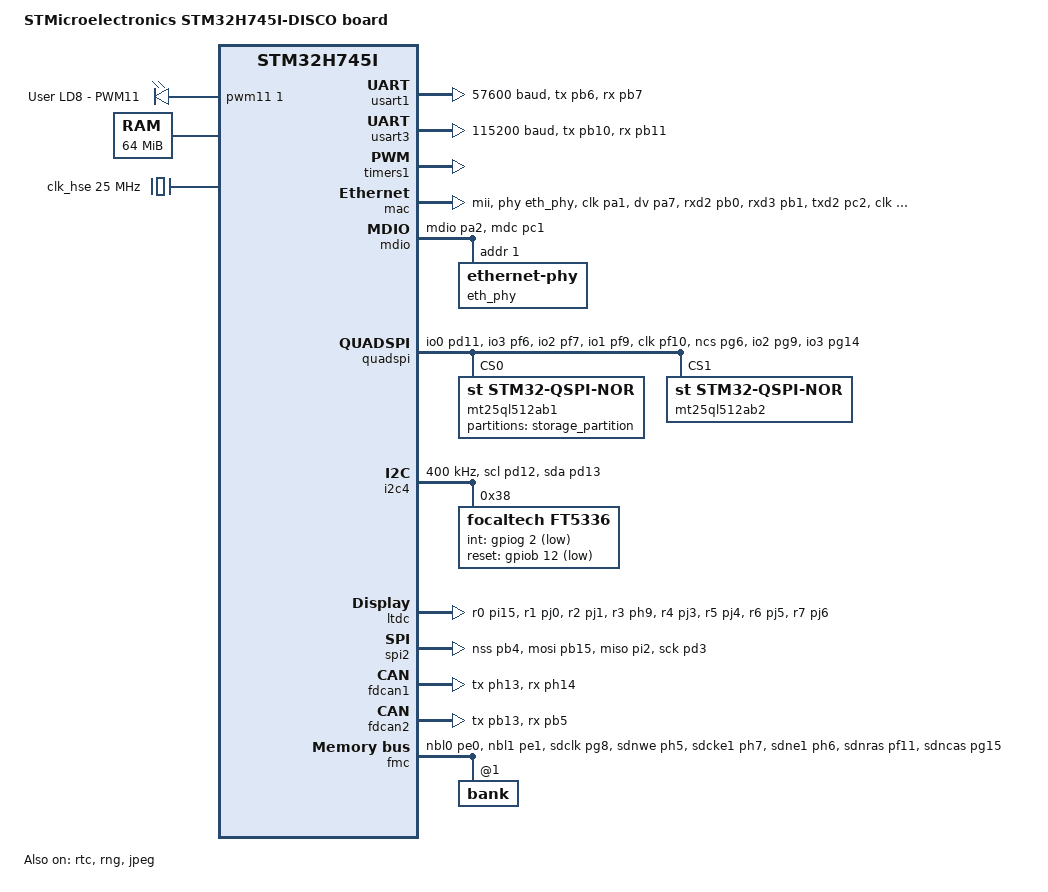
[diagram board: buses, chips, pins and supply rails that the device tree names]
/*
 * Copyright (c) 2020 Alexander Kozhinov <ak.alexander.kozhinov@gmail.com>
 * Copyright (c) 2024 Tomas Jurena <jurena@utb.cz>
 *
 * SPDX-License-Identifier: Apache-2.0
 */

/dts-v1/;
#include <st/h7/stm32h745Xi_m7.dtsi>
#include <zephyr/dt-bindings/display/panel.h>
#include "stm32h745i_disco.dtsi"

/ {
	model = "STMicroelectronics STM32H745I-DISCO board";
	compatible = "st,stm32h745i-disco";

	/* HW resources belonging to CM7 */
	chosen {
		zephyr,console = &usart3;
		zephyr,shell-uart = &usart3;
		zephyr,dtcm = &dtcm;
		zephyr,sram = &sram0;
		zephyr,flash = &flash0;
		zephyr,flash-controller = &mt25ql512ab1;
		zephyr,canbus = &fdcan1;
		zephyr,display = &ltdc;
		zephyr,touch = &ft5336;
	};

	pwmleds {
		compatible = "pwm-leds";

		green_pwm_led: green_pwm_led {
			pwms = <&pwm11 1 PWM_MSEC(20) PWM_POLARITY_NORMAL>;
			label = "User LD8 - PWM11";
		};
	};

	/* RM0455 - 23.6 External device address mapping */
	sdram2: sdram@d0000000 {
		compatible = "zephyr,memory-region", "mmio-sram";
		device_type = "memory";
		/* 128Mbit, but only half is available by HW design */
		reg = <0xd0000000 DT_SIZE_M(8)>;
		zephyr,memory-region = "SDRAM2";
		zephyr,memory-attr = <DT_MEM_ARM(ATTR_MPU_RAM)>;
	};

	ext_memory: memory@90000000 {
		compatible = "zephyr,memory-region";
		reg = <0x90000000 DT_SIZE_M(64)>; /* 512 Mbits */
		zephyr,memory-region = "EXTMEM";
		/* The ATTR_MPU_EXTMEM attribute causing a MPU FAULT */
		zephyr,memory-attr = <DT_MEM_ARM(ATTR_MPU_IO)>;
	};

	aliases {
		led0 = &green_led;
		pwm-led0 = &green_pwm_led;
		sw0 = &user_button;
		spi-flash0 = &mt25ql512ab1;
	};
};

&clk_lsi {
	status = "okay";
};

&clk_hsi48 {
	status = "okay";
};

&clk_hse {
	clock-frequency = <DT_FREQ_M(25)>; /* X1: 25MHz */
	status = "okay";
};

&pll {
	div-m = <5>;
	mul-n = <192>;
	div-p = <2>;
	div-q = <15>;
	div-r = <4>;
	clocks = <&clk_hse>;
	status = "okay";
};

&pll2 {
	div-m = <5>;
	mul-n = <192>;
	div-p = <2>;
	div-q = <12>;
	div-r = <4>;
	clocks = <&clk_hse>;
	status = "okay";
};

/* PLL3R outputs ~9.375 MHz for the LTDC pixel clock (25 MHz / 8 * 60 / 20). */
&pll3 {
	div-m = <8>;
	mul-n = <60>;
	div-p = <2>;
	div-q = <2>;
	div-r = <20>;
	clocks = <&clk_hse>;
	status = "okay";
};

&rcc {
	clocks = <&pll>;
	clock-frequency = <DT_FREQ_M(480)>;
};

&usart1 {
	pinctrl-0 = <&usart1_tx_pb6 &usart1_rx_pb7>;
	pinctrl-names = "default";
	current-speed = <57600>;
	status = "okay";
};

&usart3 {
	pinctrl-0 = <&usart3_tx_pb10 &usart3_rx_pb11>;
	pinctrl-names = "default";
	current-speed = <115200>;
	status = "okay";
};

&rtc {
	clocks = <&rcc STM32_CLOCK(APB4, 16)>,
		 <&rcc STM32_SRC_LSI RTC_SEL(2)>;
	status = "okay";
};

&timers1 {
	st,prescaler = <10000>;
	status = "okay";

	pwm11: pwm {
		status = "okay";
		pinctrl-0 = <&tim1_ch1_pa8>;
		pinctrl-names = "default";
	};
};

&mac {
	status = "okay";
	/* MII */
	pinctrl-0 = <&eth_ref_clk_pa1
		     &eth_crs_dv_pa7
		     &eth_rxd2_pb0
		     &eth_rxd3_pb1
		     &eth_txd2_pc2
		     &eth_tx_clk_pc3
		     &eth_rxd0_pc4
		     &eth_rxd1_pc5
		     &eth_txd3_pe2
		     &eth_tx_en_pg11
		     &eth_txd1_pg12
		     &eth_txd0_pg13
		     &eth_rx_er_pi10>;
	pinctrl-names = "default";
	phy-connection-type = "mii";
	phy-handle = <&eth_phy>;
};

&mdio {
	status = "okay";
	pinctrl-0 = <&eth_mdio_pa2 &eth_mdc_pc1>;
	pinctrl-names = "default";

	eth_phy: ethernet-phy@1 {
		compatible = "ethernet-phy";
		reg = <0x01>;
	};
};

&rng {
	status = "okay";
};

&quadspi {
	pinctrl-names = "default";
	pinctrl-0 = <&quadspi_bk1_io0_pd11
		     &quadspi_bk1_io3_pf6
		     &quadspi_bk1_io2_pf7
		     &quadspi_bk1_io1_pf9
		     &quadspi_clk_pf10
		     &quadspi_bk1_ncs_pg6
		     &quadspi_bk2_io2_pg9
		     &quadspi_bk2_io3_pg14
		     &quadspi_bk2_io0_ph2
		     &quadspi_bk2_io1_ph3>;
	dual-flash;
	ssht-enable;
	status = "okay";

	mt25ql512ab1: qspi-nor-flash@0 {
		compatible = "st,stm32-qspi-nor";
		reg = <0>;
		size = <DT_SIZE_M(512)>; /* 512 Mbits */
		qspi-max-frequency = <72000000>;
		cs-high-time = <4>; /* >= 50 ns */
		spi-bus-width = <4>;
		reset-cmd;
		status = "okay";

		partitions {
			compatible = "fixed-partitions";
			#address-cells = <1>;
			#size-cells = <1>;

			storage_partition: partition@0 {
				reg = <0x0 DT_SIZE_M(64)>;
			};
		};
	};

	mt25ql512ab2: qspi-nor-flash@1 {
		compatible = "st,stm32-qspi-nor";
		reg = <1>;
		size = <DT_SIZE_M(512)>; /* 512 Mbits */
		qspi-max-frequency = <72000000>;
		status = "okay";
	};
};

&i2c4 {
	status = "okay";
	pinctrl-0 = <&i2c4_scl_pd12 &i2c4_sda_pd13>;
	pinctrl-names = "default";
	scl-gpios = <&gpiod 12 GPIO_ACTIVE_HIGH>;
	sda-gpios = <&gpiod 13 GPIO_ACTIVE_HIGH>;
	clock-frequency = <I2C_BITRATE_FAST>;

	/* FT5336 capacitive touch on the on-board LCD module.
	 * INT (PG2) is open-drain, so a pull-up is required.
	 * RESET (PB12) is the LCD_RST net, shared with the panel.
	 */
	ft5336: ft5336@38 {
		compatible = "focaltech,ft5336";
		reg = <0x38>;
		int-gpios = <&gpiog 2 (GPIO_ACTIVE_LOW | GPIO_PULL_UP)>;
		reset-gpios = <&gpiob 12 GPIO_ACTIVE_LOW>;
	};
};

&ltdc {
	status = "okay";
	pinctrl-0 = <&ltdc_r0_pi15 &ltdc_r1_pj0 &ltdc_r2_pj1 &ltdc_r3_ph9
		     &ltdc_r4_pj3 &ltdc_r5_pj4 &ltdc_r6_pj5 &ltdc_r7_pj6
		     &ltdc_g0_pj7 &ltdc_g1_pj8 &ltdc_g2_pj9 &ltdc_g3_pj10
		     &ltdc_g4_pj11 &ltdc_g5_pi0 &ltdc_g6_pi1 &ltdc_g7_pk2
		     &ltdc_b0_pj12 &ltdc_b1_pj13 &ltdc_b2_pj14 &ltdc_b3_pj15
		     &ltdc_b4_pk3 &ltdc_b5_pk4 &ltdc_b6_pk5 &ltdc_b7_pk6
		     &ltdc_de_pk7 &ltdc_clk_pi14 &ltdc_hsync_pi12 &ltdc_vsync_pi9>;
	pinctrl-names = "default";
	disp-on-gpios = <&gpiod 7 GPIO_ACTIVE_HIGH>;
	clocks = <&rcc STM32_CLOCK(APB3, 3)>,
		 <&rcc STM32_SRC_PLL3_R NO_SEL>;
	ext-sdram = <&sdram2>;

	width = <480>;
	height = <272>;
	pixel-format = <PANEL_PIXEL_FORMAT_RGB_888>;

	display-timings {
		compatible = "zephyr,panel-timing";
		de-active = <0>;
		pixelclk-active = <0>;
		hsync-active = <0>;
		vsync-active = <0>;
		hsync-len = <1>;
		vsync-len = <10>;
		hback-porch = <43>;
		vback-porch = <12>;
		hfront-porch = <8>;
		vfront-porch = <4>;
	};

	def-back-color-red = <0>;
	def-back-color-green = <0>;
	def-back-color-blue = <0>;
};

&spi2 {
	status = "okay";
	pinctrl-0 = <&spi2_nss_pb4 &spi2_mosi_pb15 &spi2_miso_pi2 &spi2_sck_pd3>;
	pinctrl-names = "default";
};

&fdcan1 {
	status = "okay";
	pinctrl-0 = <&fdcan1_tx_ph13 &fdcan1_rx_ph14>;
	pinctrl-names = "default";
	clocks = <&rcc STM32_CLOCK(APB1_2, 8)>,
		 <&rcc STM32_SRC_PLL2_Q FDCAN_SEL(2)>;

	can-transceiver {
		max-bitrate = <5000000>;
	};
};

&fdcan2 {
	status = "okay";
	pinctrl-0 = <&fdcan2_tx_pb13 &fdcan2_rx_pb5>;
	pinctrl-names = "default";
	clocks = <&rcc STM32_CLOCK(APB1_2, 8)>,
		 <&rcc STM32_SRC_PLL2_Q FDCAN_SEL(2)>;

	can-transceiver {
		max-bitrate = <5000000>;
	};
};

&fmc {
	pinctrl-0 = <&fmc_nbl0_pe0 &fmc_nbl1_pe1
		     &fmc_sdclk_pg8 &fmc_sdnwe_ph5 &fmc_sdcke1_ph7
		     &fmc_sdne1_ph6 &fmc_sdnras_pf11 &fmc_sdncas_pg15
		     &fmc_a0_pf0 &fmc_a1_pf1 &fmc_a2_pf2 &fmc_a3_pf3 &fmc_a4_pf4
		     &fmc_a5_pf5 &fmc_a6_pf12 &fmc_a7_pf13 &fmc_a8_pf14
		     &fmc_a9_pf15 &fmc_a10_pg0 &fmc_a11_pg1
		     &fmc_a14_pg4 &fmc_a15_pg5 &fmc_d0_pd14 &fmc_d1_pd15
		     &fmc_d2_pd0 &fmc_d3_pd1 &fmc_d4_pe7 &fmc_d5_pe8 &fmc_d6_pe9
		     &fmc_d7_pe10 &fmc_d8_pe11 &fmc_d9_pe12 &fmc_d10_pe13
		     &fmc_d11_pe14 &fmc_d12_pe15 &fmc_d13_pd8 &fmc_d14_pd9
		     &fmc_d15_pd10>;
	pinctrl-names = "default";
	status = "okay";

	sdram {
		status = "okay";
		power-up-delay = <100>;
		num-auto-refresh = <8>;
		mode-register = <0x220>;
		refresh-rate = <0x603>;

		bank@1 {
			reg = <1>;
			st,sdram-control = <STM32_FMC_SDRAM_NC_8
					    STM32_FMC_SDRAM_NR_12
					    STM32_FMC_SDRAM_MWID_16
					    STM32_FMC_SDRAM_NB_4
					    STM32_FMC_SDRAM_CAS_2
					    STM32_FMC_SDRAM_SDCLK_PERIOD_3
					    STM32_FMC_SDRAM_RBURST_ENABLE
					    STM32_FMC_SDRAM_RPIPE_0>;
			st,sdram-timing = <2 7 4 7 2 2 2>;
		};
	};
};

zephyr_jpegenc: &jpeg {
	status = "okay";
};
